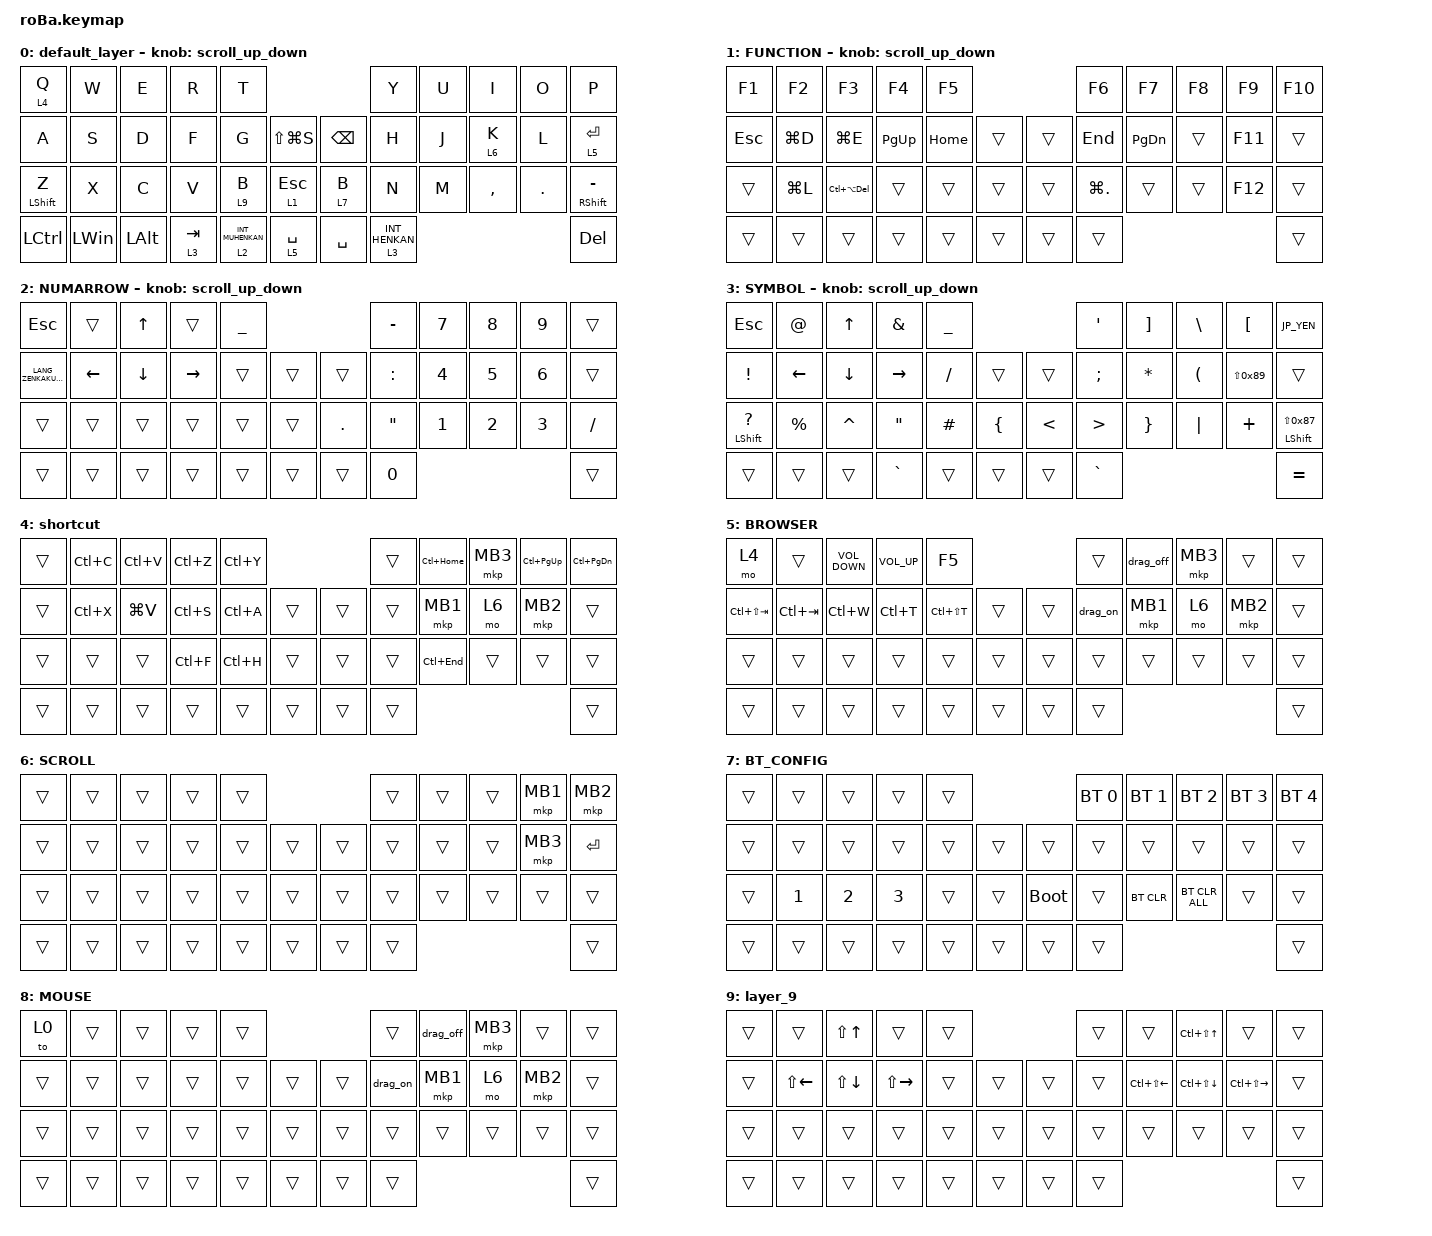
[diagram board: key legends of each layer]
#include <behaviors.dtsi>
#include <dt-bindings/zmk/bt.h>
#include <dt-bindings/zmk/keys.h>
#include <dt-bindings/zmk/pointing.h>
// #include <input/processors.dtsi>

// OS設定を日本語キーボードのまま使用するための変換定義

#define JP_DQUOTE       AT                // "
#define JP_AMPERSAND    CARET             // &
#define JP_QUOTE        AMPERSAND         // '
#define JP_EQUAL        UNDER             // =
#define JP_CARET        EQUAL             // ^
#define JP_YEN          0x89              // ¥
#define JP_PLUS         COLON             // +
#define JP_TILDE        PLUS              // ~
#define JP_PIPE         LS(0x89)          // |
#define JP_AT           LEFT_BRACKET      // @
#define JP_COLON        SINGLE_QUOTE      // :
#define JP_ASTERISK     DOUBLE_QUOTES     // *
#define JP_BACKQUOTE    LEFT_BRACE        // `
#define JP_UNDERSCORE   LS(0x87)          // _
#define JP_LBRACKET     RIGHT_BRACKET     // [
#define JP_RBRACKET     BACKSLASH         // ]
#define JP_LPAREN       ASTERISK          // (
#define JP_RPAREN       LEFT_PARENTHESIS  // )
#define JP_LBRACE       RIGHT_BRACE       // {
#define JP_RBRACE       PIPE              // }
#define JP_KANA         LANGUAGE_1        // かな
#define JP_EISU         LANGUAGE_2        // 英数
#define JP_HANZEN       GRAVE             // 半角/全角
#define ZMK_POINTING_DEFAULT_SCRL_VAL 100

&mt {
    flavor = "balanced";
    quick-tap-ms = <0>;
};

&trackball {
    //automouse-layer = <4>;
    scroll-layers = <6>;
    snipe-layers = <5>;
    // arrows {
    //     layers = <3>;
    //     bindings =
    //         <&kp RIGHT_ARROW>,
    //         <&kp LEFT_ARROW>,
    //         <&kp UP_ARROW>,
    //         <&kp DOWN_ARROW>;
    //     tick = <10>;
    //     wait-ms = <5>;
    //     tap-ms = <5>;
    // };
};

/ {
    combos {
        compatible = "zmk,combos";

        tab {
            bindings = <&kp TAB>;
            key-positions = <11 10>;
        };

        shift_tab {
            bindings = <&kp LS(TAB)>;
            key-positions = <0 1>;
        };

        ex {
            bindings = <&kp EXCL>;
            key-positions = <8 9>;
        };

        question {
            bindings = <&kp QUESTION>;
            key-positions = <20 21>;
        };

        symbol_layer_minus {
            bindings = <&kp MINUS>;
            key-positions = <5 6>;
            layers = <3>;
        };

        symbol_layer_plus {
            bindings = <&kp JP_PLUS>;
            key-positions = <17 18>;
            layers = <3>;
        };

        left_click {
            bindings = <&mkp MB1>;
            key-positions = <>;
        };

        right_click {
            bindings = <&mkp MB2>;
            key-positions = <>;
        };

        middle_click {
            bindings = <&mkp MB3>;
            key-positions = <>;
        };

        mb4 {
            bindings = <&mkp MB4>;
            key-positions = <6 7>;
        };

        mb5 {
            bindings = <&mkp MB5>;
            key-positions = <7 8>;
        };
    };

    macros {
        to_layer_0: to_layer_0 {
            compatible = "zmk,behavior-macro-one-param";
            #binding-cells = <1>;
            bindings = <&to 0 &macro_param_1to1 &kp MACRO_PLACEHOLDER>;
            label = "TO_LAYER_0";
        };

        mkp_exit_AML: mkp_exit_AML {
            compatible = "zmk,behavior-macro-one-param";
            #binding-cells = <1>;
            bindings =
                <&macro_press>,
                <&macro_param_1to1 &mkp MACRO_PLACEHOLDER>,
                <&macro_pause_for_release>,
                <&macro_release>,
                <&macro_param_1to1 &mkp MACRO_PLACEHOLDER>,
                <&macro_tap>,
                <&sl 8>;

            label = "MKP_EXIT_AML";
        };

drag_on: drag_on {
    compatible = "zmk,behavior-macro";
    #binding-cells = <0>;

    // 左クリックを押しっぱなしにする
    bindings = <&macro_press &mkp MB1>;

    label = "DRAG_ON";
};

drag_off: drag_off {
    compatible = "zmk,behavior-macro";
    #binding-cells = <0>;

    // 左クリックを離す
    bindings = <&macro_release &mkp MB1>;

    label = "DRAG_OFF";
};
    };

    behaviors {
        lt_to_layer_0: lt_to_layer_0 {
            compatible = "zmk,behavior-hold-tap";
            label = "LAYER_TAP_TO_0";
            bindings = <&mo>, <&to_layer_0>;

            #binding-cells = <2>;
            tapping-term-ms = <280>;
        };

        scroll_up_down: behavior_sensor_rotate_mouse_wheel_up_down {
            compatible = "zmk,behavior-sensor-rotate";
            #sensor-binding-cells = <0>;
            bindings = <&msc SCRL_DOWN>, <&msc SCRL_UP>;

            // 追加: スクロールのタップ時間を設定 (20ms)

            tap-ms = <20>;
        };
    };

    keymap {
        compatible = "zmk,keymap";

        default_layer {
            bindings = <
&lt 4 Q           &kp W         &kp E         &kp R      &kp T                                                 &kp Y             &kp U  &kp I      &kp O    &kp P
&kp A             &kp S         &kp D         &kp F      &kp G               &kp LS(LG(S))      &kp BACKSPACE  &kp H             &kp J  &lt 6 K    &kp L    &lt 5 ENTER
&mt LEFT_SHIFT Z  &kp X         &kp C         &kp V      &lt 9 B             &lt 1 ESCAPE       &lt 7 B        &kp N             &kp M  &kp COMMA  &kp DOT  &mt RIGHT_SHIFT MINUS
&kp LCTRL         &kp LEFT_WIN  &kp LEFT_ALT  &lt 3 TAB  &lt 2 INT_MUHENKAN  &lt 5 SPACE        &kp SPACE      &lt 3 INT_HENKAN                             &kp DEL
            >;

            sensor-bindings = <&scroll_up_down>;
        };

        FUNCTION {
            bindings = <
&kp F1      &kp F2     &kp F3           &kp F4       &kp F5                        &kp F6          &kp F7         &kp F8  &kp F9   &kp F10
&kp ESCAPE  &kp LG(D)  &kp LG(E)        &kp PAGE_UP  &kp HOME  &trans      &trans  &kp END         &kp PAGE_DOWN  &trans  &kp F11  &trans
&trans      &kp LG(L)  &kp LC(LA(DEL))  &trans       &trans    &trans      &trans  &kp LG(PERIOD)  &trans         &trans  &kp F12  &trans
&trans      &trans     &trans           &trans       &trans    &trans      &trans  &trans                                          &trans
            >;

            sensor-bindings = <&scroll_up_down>;
        };

        NUMARROW {
            bindings = <
&kp ESCAPE               &trans          &kp UP_ARROW    &trans     &kp JP_EQUAL                          &kp MINUS        &kp NUMBER_7  &kp NUMBER_8  &kp NUMBER_9  &trans
&kp LANG_ZENKAKUHANKAKU  &kp LEFT_ARROW  &kp DOWN_ARROW  &kp RIGHT  &trans        &trans      &trans      &kp JP_PLUS      &kp NUMBER_4  &kp NUMBER_5  &kp NUMBER_6  &trans
&trans                   &trans          &trans          &trans     &trans        &trans      &kp PERIOD  &kp JP_ASTERISK  &kp NUMBER_1  &kp NUMBER_2  &kp NUMBER_3  &kp SLASH
&trans                   &trans          &trans          &trans     &trans        &trans      &trans      &kp NUMBER_0                                               &trans
            >;

            sensor-bindings = <&scroll_up_down>;
        };

        SYMBOL {
            bindings = <
&kp ESCAPE               &kp JP_DQUOTE   &kp UP_ARROW      &kp JP_QUOTE     &kp JP_EQUAL                                       &kp JP_COLON      &kp JP_LBRACKET  &kp JP_RBRACKET  &kp JP_AT     &kp JP_YEN
&kp EXCL                 &kp LEFT_ARROW  &kp DOWN_ARROW    &kp RIGHT        &kp SLASH     &trans                &trans         &kp SEMI          &kp JP_LPAREN    &kp JP_RPAREN    &kp JP_PIPE   &trans
&mt LEFT_SHIFT QUESTION  &kp PERCENT     &kp JP_AMPERSAND  &kp JP_ASTERISK  &kp HASH      &kp JP_BACKQUOTE      &kp LESS_THAN  &kp GREATER_THAN  &kp JP_LBRACE    &kp JP_RBRACE    &kp JP_TILDE  &mt LEFT_SHIFT JP_UNDERSCORE
&trans                   &trans          &trans            &kp JP_HANZEN    &trans        &trans                &trans         &kp JP_HANZEN                                                     &kp JP_CARET
            >;

            sensor-bindings = <&scroll_up_down>;
        };

        shortcut {
            bindings = <
&trans  &kp LC(C)  &kp LC(V)  &kp LC(Z)  &kp LC(Y)                      &trans  &kp LC(HOME)  &mkp MB3  &kp LC(PAGE_UP)  &kp LC(PAGE_DOWN)
&trans  &kp LC(X)  &kp LG(V)  &kp LC(S)  &kp LC(A)  &trans      &trans  &trans  &mkp MB1      &mo 6     &mkp MB2         &trans
&trans  &trans     &trans     &kp LC(F)  &kp LC(H)  &trans      &trans  &trans  &kp LC(END)   &trans    &trans           &trans
&trans  &trans     &trans     &trans     &trans     &trans      &trans  &trans                                           &trans
            >;
        };

        BROWSER {
            bindings = <
&mo 4            &trans       &kp C_VOLUME_DOWN  &kp C_VOLUME_UP  &kp F5                             &trans  &drag_off    &mkp MB3  &trans    &trans
&kp LC(LS(TAB))  &kp LC(TAB)  &kp LC(W)          &kp LC(T)        &kp LC(LS(T))  &trans      &trans  &drag_on  &mkp MB1  &mo 6     &mkp MB2  &trans
&trans           &trans       &trans             &trans           &trans         &trans      &trans  &trans  &trans    &trans    &trans    &trans
&trans           &trans       &trans             &trans           &trans         &trans      &trans  &trans                                &trans
            >;
        };

        SCROLL {
            bindings = <
&trans  &trans  &trans  &trans  &trans                      &trans  &trans  &trans  &mkp MB1  &mkp MB2
&trans  &trans  &trans  &trans  &trans  &trans      &trans  &trans  &trans  &trans  &mkp MB3  &kp ENTER
&trans  &trans  &trans  &trans  &trans  &trans      &trans  &trans  &trans  &trans  &trans    &trans
&trans  &trans  &trans  &trans  &trans  &trans      &trans  &trans                            &trans
            >;
        };

        BT_CONFIG {
            bindings = <
&trans  &trans        &trans        &trans        &trans                           &bt BT_SEL 0  &bt BT_SEL 1  &bt BT_SEL 2    &bt BT_SEL 3  &bt BT_SEL 4
&trans  &trans        &trans        &trans        &trans  &trans      &trans       &trans        &trans        &trans          &trans        &trans
&trans  &kp NUMBER_1  &kp NUMBER_2  &kp NUMBER_3  &trans  &trans      &bootloader  &trans        &bt BT_CLR    &bt BT_CLR_ALL  &trans        &trans
&trans  &trans        &trans        &trans        &trans  &trans      &trans       &trans                                                    &trans
            >;
        };

        MOUSE {
            bindings = <
&to 0   &trans  &trans  &trans  &trans                      &trans  &drag_off    &mkp MB3  &trans    &trans
&trans  &trans  &trans  &trans  &trans  &trans      &trans  &drag_on  &mkp MB1  &mo 6     &mkp MB2  &trans
&trans  &trans  &trans  &trans  &trans  &trans      &trans  &trans  &trans    &trans    &trans    &trans
&trans  &trans  &trans  &trans  &trans  &trans      &trans  &trans                                &trans
            >;
        };

        layer_9 {
            bindings = <
&trans  &trans              &kp LS(UP_ARROW)    &trans               &trans                      &trans  &trans                  &kp LC(LS(UP_ARROW))    &trans                   &trans
&trans  &kp LS(LEFT_ARROW)  &kp LS(DOWN_ARROW)  &kp LS(RIGHT_ARROW)  &trans  &trans      &trans  &trans  &kp LC(LS(LEFT_ARROW))  &kp LC(LS(DOWN_ARROW))  &kp LC(LS(RIGHT_ARROW))  &trans
&trans  &trans              &trans              &trans               &trans  &trans      &trans  &trans  &trans                  &trans                  &trans                   &trans
&trans  &trans              &trans              &trans               &trans  &trans      &trans  &trans                                                                           &trans
            >;
        };
    };
};
